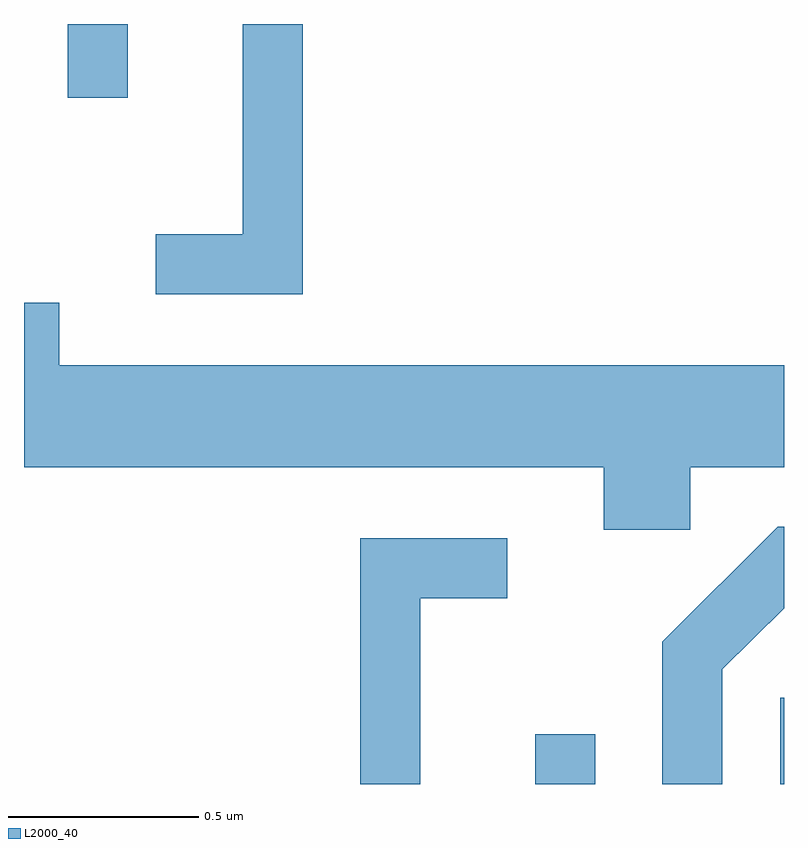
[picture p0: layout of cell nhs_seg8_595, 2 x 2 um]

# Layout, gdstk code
import gdstk
lib = gdstk.Library(unit=1e-6, precision=1e-09)
def R(c, l, rs):  # rectangles x0, y0, x1, y1
    for r in rs: c.add(gdstk.rectangle(r[:2], r[2:], *l))
def P(c, l, *ps):  # polygons
    for p in ps: c.add(gdstk.Polygon(p, *l))
L2000_40 = (2000, 40)

nhs_seg8_595 = lib.new_cell('nhs_seg8_595')
R(nhs_seg8_595, L2000_40, [(190.956,1853.342,191.114,1853.473), (191.601,1853.342,191.611,1853.569), (189.726,1855.148,189.884,1855.342)])
P(nhs_seg8_595, L2000_40, [(190.344,1855.342),(190.186,1855.342),(190.186,1854.789),(189.958,1854.789),(189.958,1854.631),(190.344,1854.631)],
  [(191.364,1854.176),(191.611,1854.176),(191.611,1854.444),(189.704,1854.444),(189.704,1854.609),(189.611,1854.609),(189.611,1854.176),(191.136,1854.176),(191.136,1854.011),(191.364,1854.011)],
  [(191.449,1853.644),(191.611,1853.805),(191.611,1854.019),(191.594,1854.019),(191.291,1853.717),(191.291,1853.342),(191.449,1853.342)],
  [(190.654,1853.831),(190.883,1853.831),(190.883,1853.989),(190.496,1853.989),(190.496,1853.342),(190.654,1853.342)])

lib.write_gds('nhs_seg8_595.gds')
